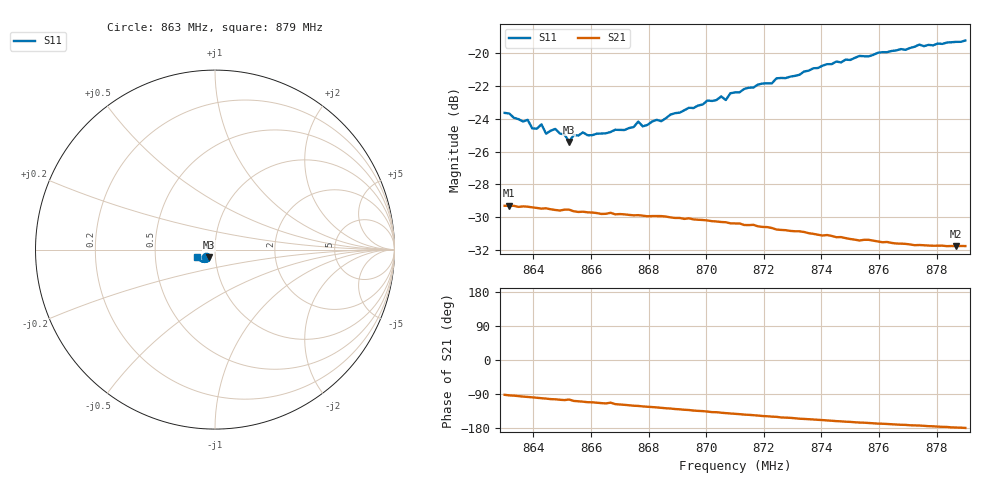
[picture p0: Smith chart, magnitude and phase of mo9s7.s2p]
# HZ S RI R 50
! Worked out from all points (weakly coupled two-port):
!   101 points, 863 MHz to 879 MHz, reference 50 ohm
!   highest |S21| = -29.29 dB at 863.16 MHz (marker M1); lowest = -31.7 dB at 878.68 MHz (marker M2)
!   lowest |S11| = -25.4 dB at 865.24 MHz (marker M3), VSWR 1.11, Z = 46.6 - j3.95 ohm
!   |S11| at or under -10 dB: start of sweep to end of sweep
!   S12 and S22 are empty: the file has one direction only
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8.63e8  -0.051 -0.0413  -0.00113 -0.0343  0 0  0 0
8.6316e8  -0.0494 -0.0428  -0.00199 -0.0342  0 0  0 0
8.638e8  -0.0464 -0.042  -0.00442 -0.0338  0 0  0 0
8.6396e8  -0.0435 -0.0398  -0.00504 -0.0335  0 0  0 0
8.6428e8  -0.043 -0.0427  -0.00635 -0.033  0 0  0 0
8.6444e8  -0.0404 -0.0399  -0.00693 -0.033  0 0  0 0
8.6476e8  -0.0404 -0.0426  -0.00792 -0.0324  0 0  0 0
8.6524e8  -0.0331 -0.0422  -0.00822 -0.0324  0 0  0 0
8.654e8  -0.036 -0.0433  -0.0102 -0.0314  0 0  0 0
8.6572e8  -0.0359 -0.0447  -0.0112 -0.0309  0 0  0 0
8.6652e8  -0.0326 -0.0467  -0.0135 -0.0295  0 0  0 0
8.6764e8  -0.0332 -0.0521  -0.0167 -0.0275  0 0  0 0
8.678e8  -0.0316 -0.0507  -0.0172 -0.027  0 0  0 0
8.6844e8  -0.0317 -0.0532  -0.0189 -0.0257  0 0  0 0
8.7004e8  -0.0362 -0.0617  -0.0223 -0.0215  0 0  0 0
8.7052e8  -0.0388 -0.0626  -0.0232 -0.02  0 0  0 0
8.7068e8  -0.0365 -0.0618  -0.0235 -0.0196  0 0  0 0
8.71e8  -0.0412 -0.0636  -0.0239 -0.0187  0 0  0 0
8.7372e8  -0.0568 -0.0695  -0.0259 -0.011  0 0  0 0
8.7644e8  -0.0812 -0.0604  -0.026 -0.00478  0 0  0 0
8.7868e8  -0.0985 -0.044  -0.0258 -0.000802  0 0  0 0
8.79e8  -0.1008 -0.0414  -0.0259 -0.000316  0 0  0 0
